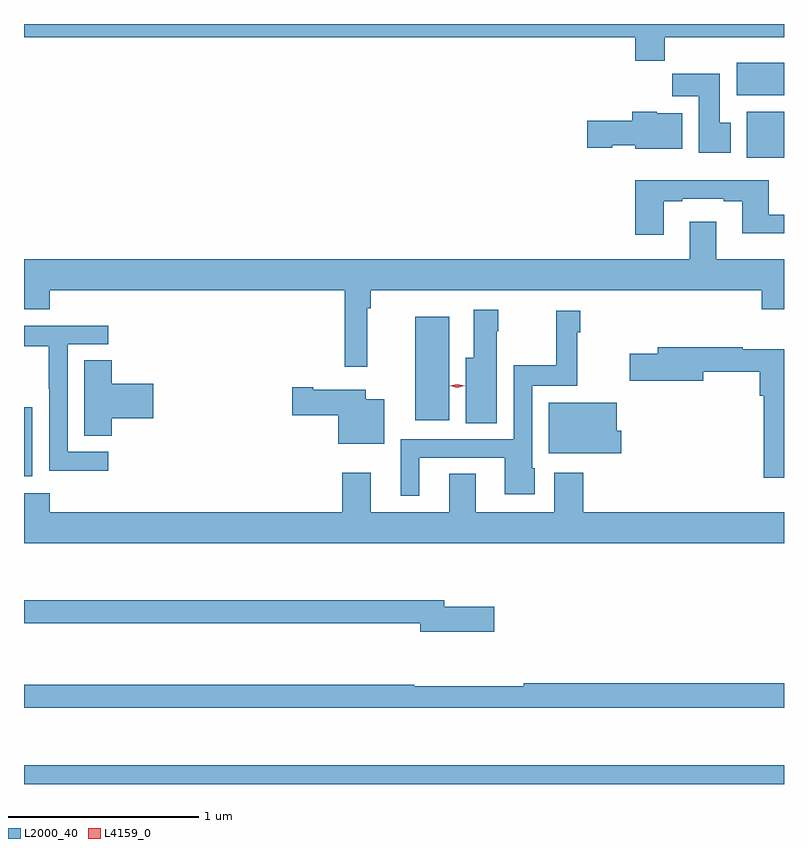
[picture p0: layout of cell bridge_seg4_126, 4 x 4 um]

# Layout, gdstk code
import gdstk
lib = gdstk.Library(unit=1e-6, precision=1e-09)
def R(c, l, rs):  # rectangles x0, y0, x1, y1
    for r in rs: c.add(gdstk.rectangle(r[:2], r[2:], *l))
def P(c, l, *ps):  # polygons
    for p in ps: c.add(gdstk.Polygon(p, *l))
L2000_40 = (2000, 40)
L4159_0 = (4159, 0)

bridge_seg4_126 = lib.new_cell('bridge_seg4_126')
R(bridge_seg4_126, L2000_40, [(266.489,788.893,270.489,788.992), (266.489,790.514,266.533,790.875), (268.547,790.808,268.726,791.353), (270.293,792.188,270.489,792.43), (270.239,792.518,270.489,792.688)])
P(bridge_seg4_126, L2000_40, [(269.861,792.824),(270.489,792.824),(270.489,792.893),(266.489,792.893),(266.489,792.824),(269.705,792.824),(269.705,792.7),(269.861,792.7)],
  [(270.208,792.372),(270.151,792.372),(270.151,792.63),(269.902,792.63),(269.902,792.512),(270.041,792.512),(270.041,792.216),(270.208,792.216)],
  [(269.953,792.424),(269.82,792.424),(269.82,792.43),(269.69,792.43),(269.69,792.384),(269.454,792.384),(269.454,792.242),(269.586,792.242),(269.586,792.254),(269.706,792.254),(269.706,792.236),(269.953,792.236)],
  [(269.857,791.961),(269.953,791.961),(269.953,791.973),(270.173,791.973),(270.173,791.961),(270.269,791.961),(270.269,791.792),(270.489,791.792),(270.489,791.889),(270.409,791.889),(270.409,792.07),(269.705,792.07),(269.705,791.784),(269.857,791.784)],
  [(269.993,791.851),(269.993,791.656),(266.489,791.656),(266.489,791.393),(266.624,791.393),(266.624,791.492),(268.177,791.492),(268.177,791.088),(268.296,791.088),(268.296,791.396),(268.313,791.396),(268.313,791.492),(270.371,791.492),(270.371,791.393),(270.489,791.393),(270.489,791.656),(270.133,791.656),(270.133,791.851)],
  [(268.978,791.276),(268.986,791.276),(268.986,791.389),(268.856,791.389),(268.856,791.137),(268.814,791.137),(268.814,790.792),(268.978,790.792)],
  [(268.57,790.611),(269.018,790.611),(269.018,790.418),(269.176,790.418),(269.176,790.554),(269.163,790.554),(269.163,790.989),(269.402,790.989),(269.402,791.27),(269.417,791.27),(269.417,791.383),(269.289,791.383),(269.289,791.098),(269.067,791.098),(269.067,790.707),(268.472,790.707),(268.472,790.41),(268.57,790.41)],
  [(266.932,790.641),(266.718,790.641),(266.718,791.208),(266.932,791.208),(266.932,791.304),(266.489,791.304),(266.489,791.196),(266.62,791.196),(266.62,790.972),(266.622,790.972),(266.622,790.543),(266.932,790.543)],
  [(270.489,791.182),(270.474,791.182),(270.474,791.18),(270.272,791.18),(270.272,791.191),(269.825,791.191),(269.825,791.157),(269.676,791.157),(269.676,791.015),(270.064,791.015),(270.064,791.062),(270.361,791.062),(270.361,790.937),(270.382,790.937),(270.382,790.506),(270.489,790.506)],
  [(266.951,790.817),(267.169,790.817),(267.169,791),(266.951,791),(266.951,791.123),(266.807,791.123),(266.807,790.726),(266.951,790.726)],
  [(268.384,790.918),(268.288,790.918),(268.288,790.969),(268.012,790.969),(268.012,790.982),(267.9,790.982),(267.9,790.835),(268.142,790.835),(268.142,790.685),(268.384,790.685)],
  [(269.632,790.752),(269.608,790.752),(269.608,790.9),(269.252,790.9),(269.252,790.634),(269.632,790.634)],
  [(270.489,790.324),(269.432,790.324),(269.432,790.531),(269.279,790.531),(269.279,790.324),(268.867,790.324),(268.867,790.526),(268.727,790.526),(268.727,790.324),(268.315,790.324),(268.315,790.531),(268.163,790.531),(268.163,790.324),(266.624,790.324),(266.624,790.423),(266.489,790.423),(266.489,790.16),(270.489,790.16)],
  [(268.963,789.825),(268.702,789.825),(268.702,789.859),(266.489,789.859),(266.489,789.738),(268.574,789.738),(268.574,789.695),(268.963,789.695)],
  [(270.489,789.422),(269.12,789.422),(269.12,789.407),(268.543,789.407),(268.543,789.415),(266.489,789.415),(266.489,789.294),(270.489,789.294)])
P(bridge_seg4_126, L4159_0, [(268.77,790.978),(268.731,790.988),(268.731,790.988),(268.731,790.988),(268.77,790.998),(268.81,790.988),(268.81,790.988),(268.81,790.988)])

lib.write_gds('bridge_seg4_126.gds')
